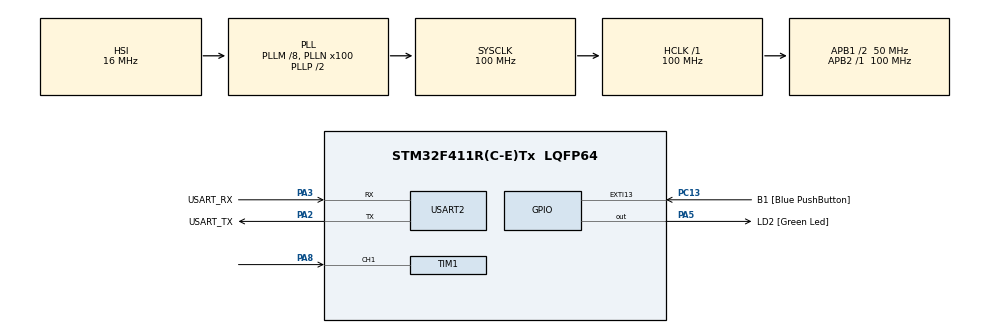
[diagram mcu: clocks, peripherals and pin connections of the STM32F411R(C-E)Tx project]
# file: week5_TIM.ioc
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Dma.Request0=TIM1_CH1
Dma.TIM1_CH1.0.Direction=DMA_PERIPH_TO_MEMORY
Dma.TIM1_CH1.0.FIFOMode=DMA_FIFOMODE_DISABLE
Dma.TIM1_CH1.0.Instance=DMA2_Stream1
Dma.TIM1_CH1.0.MemDataAlignment=DMA_MDATAALIGN_HALFWORD
Dma.TIM1_CH1.0.MemInc=DMA_MINC_ENABLE
Dma.TIM1_CH1.0.Mode=DMA_CIRCULAR
Dma.TIM1_CH1.0.PeriphDataAlignment=DMA_PDATAALIGN_HALFWORD
Dma.TIM1_CH1.0.PeriphInc=DMA_PINC_DISABLE
Dma.TIM1_CH1.0.Priority=DMA_PRIORITY_LOW
Mcu.Family=STM32F4
Mcu.Name=STM32F411R(C-E)Tx
Mcu.Package=LQFP64
NVIC.DMA2_Stream1_IRQn=true\:0\:0\:false\:false\:true\:false\:true
NVIC.PriorityGroup=NVIC_PRIORITYGROUP_0
NVIC.TIM1_TRG_COM_TIM11_IRQn=true\:0\:0\:false\:false\:true\:true\:true
PA13.GPIO_Label=TMS
PA13.Mode=Serial_Wire
PA13.Signal=SYS_JTMS-SWDIO
PA14.GPIO_Label=TCK
PA14.Mode=Serial_Wire
PA14.Signal=SYS_JTCK-SWCLK
PA2.GPIO_Label=USART_TX
PA2.Mode=Asynchronous
PA2.Signal=USART2_TX
PA3.GPIO_Label=USART_RX
PA3.Mode=Asynchronous
PA3.Signal=USART2_RX
PA5.GPIO_Label=LD2 [Green Led]
PA5.Signal=GPIO_Output
PA8.Signal=S_TIM1_CH1
PB3.GPIO_Label=SWO
PB3.Signal=SYS_JTDO-SWO
PC13-ANTI_TAMP.GPIO_Label=B1 [Blue PushButton]
PC13-ANTI_TAMP.GPIO_ModeDefaultEXTI=GPIO_MODE_IT_FALLING
PC13-ANTI_TAMP.Signal=GPXTI13
PC14-OSC32_IN.Mode=LSE-External-Oscillator
PC14-OSC32_IN.Signal=RCC_OSC32_IN
PC15-OSC32_OUT.Mode=LSE-External-Oscillator
PC15-OSC32_OUT.Signal=RCC_OSC32_OUT
PH0\ -\ OSC_IN.Mode=HSE-External-Clock-Source
PH0\ -\ OSC_IN.Signal=RCC_OSC_IN
PH1\ -\ OSC_OUT.Mode=HSE-External-Clock-Source
PH1\ -\ OSC_OUT.Signal=RCC_OSC_OUT
ProjectManager.HeapSize=0x200
ProjectManager.StackSize=0x400
ProjectManager.TargetToolchain=STM32CubeIDE
RCC.48MHZClocksFreq_Value=50000000
RCC.AHBFreq_Value=100000000
RCC.APB1CLKDivider=RCC_HCLK_DIV2
RCC.APB1Freq_Value=50000000
RCC.APB1TimFreq_Value=100000000
RCC.APB2Freq_Value=100000000
RCC.APB2TimFreq_Value=100000000
RCC.CortexFreq_Value=100000000
RCC.FLatency-AdvancedSettings=FLASH_LATENCY_3
RCC.HCLKFreq_Value=100000000
RCC.HSE_VALUE=8000000
RCC.HSI_VALUE=16000000
RCC.PLLM=8
RCC.PLLN=100
RCC.SYSCLKFreq_VALUE=100000000
RCC.SYSCLKSource=RCC_SYSCLKSOURCE_PLLCLK
RCC.VCOOutputFreq_Value=200000000
SH.S_TIM1_CH1.0=TIM1_CH1,Input_Capture1_from_TI1
TIM1.Channel-Input_Capture1_from_TI1=TIM_CHANNEL_1
TIM1.ICFilter_CH1=2
TIM1.Prescaler=99
TIM11.Prescaler=99
USART2.VirtualMode=VM_ASYNC
VP_TIM11_VS_ClockSourceINT.Mode=Enable_Timer
VP_TIM1_VS_ClockSourceINT.Mode=Internal
board=NUCLEO-F411RE

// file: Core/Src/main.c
/* USER CODE BEGIN Header */
/**
  ******************************************************************************
  * @file           : main.c
  * @brief          : Main program body
  ******************************************************************************
  * @attention
  *
  * <h2><center>&copy; Copyright (c) 2021 STMicroelectronics.
  * All rights reserved.</center></h2>
  *
  * This software component is licensed by ST under BSD 3-Clause license,
  * the "License"; You may not use this file except in compliance with the
  * License. You may obtain a copy of the License at:
  *                        opensource.org/licenses/BSD-3-Clause
  *
  ******************************************************************************
  */
/* USER CODE END Header */
#include "main.h"

/* USER CODE BEGIN PM */
#define CAPTURENUM 16
/* USER CODE END PM */

TIM_HandleTypeDef htim1;
TIM_HandleTypeDef htim11;
DMA_HandleTypeDef hdma_tim1_ch1;

UART_HandleTypeDef huart2;

/* USER CODE BEGIN PV */

uint16_t capturedata[CAPTURENUM]={0};
/* USER CODE END PV */

void SystemClock_Config(void);
static void MX_GPIO_Init(void);
static void MX_DMA_Init(void);
static void MX_USART2_UART_Init(void);
static void MX_TIM1_Init(void);
static void MX_TIM11_Init(void);

/* USER CODE BEGIN 0 */
uint64_t _micros=0;
uint64_t micros();
uint64_t timestamp=0;

int32_t DiffTime[CAPTURENUM-1] = { 0 };
float MeanTime =0;
void encoderSpeedReaderCycle();

/* USER CODE END 0 */

int main(void)
{

  /* MCU Configuration--------------------------------------------------------*/

  /* Reset of all peripherals, Initializes the Flash interface and the Systick. */
  HAL_Init();

  /* Configure the system clock */
  SystemClock_Config();

  /* Initialize all configured peripherals */
  MX_GPIO_Init();
  MX_DMA_Init();
  MX_USART2_UART_Init();
  MX_TIM1_Init();
  MX_TIM11_Init();
  /* USER CODE BEGIN 2 */
HAL_TIM_Base_Start_IT(&htim11);

HAL_TIM_Base_Start_IT(&htim1);
HAL_TIM_IC_Start_DMA(&htim1, TIM_CHANNEL_1, (uint32_t*)capturedata,CAPTURENUM);
  /* USER CODE END 2 */

  /* Infinite loop */
  /* USER CODE BEGIN WHILE */
  while (1)
  {
	  if(micros()-timestamp > 1000000){
	  	timestamp = micros();
	  	HAL_GPIO_TogglePin(LD2_GPIO_Port,LD2_Pin);
	  }
    /* USER CODE END WHILE */

  }
}

void SystemClock_Config(void)
{
  RCC_OscInitTypeDef RCC_OscInitStruct = {0};
  RCC_ClkInitTypeDef RCC_ClkInitStruct = {0};

  /** Configure the main internal regulator output voltage
  */
  __HAL_RCC_PWR_CLK_ENABLE();
  __HAL_PWR_VOLTAGESCALING_CONFIG(PWR_REGULATOR_VOLTAGE_SCALE1);
  /** Initializes the RCC Oscillators according to the specified parameters
  * in the RCC_OscInitTypeDef structure.
  */
  RCC_OscInitStruct.OscillatorType = RCC_OSCILLATORTYPE_HSI;
  RCC_OscInitStruct.HSIState = RCC_HSI_ON;
  RCC_OscInitStruct.HSICalibrationValue = RCC_HSICALIBRATION_DEFAULT;
  RCC_OscInitStruct.PLL.PLLState = RCC_PLL_ON;
  RCC_OscInitStruct.PLL.PLLSource = RCC_PLLSOURCE_HSI;
  RCC_OscInitStruct.PLL.PLLM = 8;
  RCC_OscInitStruct.PLL.PLLN = 100;
  RCC_OscInitStruct.PLL.PLLP = RCC_PLLP_DIV2;
  RCC_OscInitStruct.PLL.PLLQ = 4;
  if (HAL_RCC_OscConfig(&RCC_OscInitStruct) != HAL_OK)
  {
    Error_Handler();
  }
  /** Initializes the CPU, AHB and APB buses clocks
  */
  RCC_ClkInitStruct.ClockType = RCC_CLOCKTYPE_HCLK|RCC_CLOCKTYPE_SYSCLK
                              |RCC_CLOCKTYPE_PCLK1|RCC_CLOCKTYPE_PCLK2;
  RCC_ClkInitStruct.SYSCLKSource = RCC_SYSCLKSOURCE_PLLCLK;
  RCC_ClkInitStruct.AHBCLKDivider = RCC_SYSCLK_DIV1;
  RCC_ClkInitStruct.APB1CLKDivider = RCC_HCLK_DIV2;
  RCC_ClkInitStruct.APB2CLKDivider = RCC_HCLK_DIV1;

  if (HAL_RCC_ClockConfig(&RCC_ClkInitStruct, FLASH_LATENCY_3) != HAL_OK)
  {
    Error_Handler();
  }
}

static void MX_TIM1_Init(void)
{

  TIM_ClockConfigTypeDef sClockSourceConfig = {0};
  TIM_MasterConfigTypeDef sMasterConfig = {0};
  TIM_IC_InitTypeDef sConfigIC = {0};

  htim1.Instance = TIM1;
  htim1.Init.Prescaler = 99;
  htim1.Init.CounterMode = TIM_COUNTERMODE_UP;
  htim1.Init.Period = 65535;
  htim1.Init.ClockDivision = TIM_CLOCKDIVISION_DIV1;
  htim1.Init.RepetitionCounter = 0;
  htim1.Init.AutoReloadPreload = TIM_AUTORELOAD_PRELOAD_DISABLE;
  if (HAL_TIM_Base_Init(&htim1) != HAL_OK)
  {
    Error_Handler();
  }
  sClockSourceConfig.ClockSource = TIM_CLOCKSOURCE_INTERNAL;
  if (HAL_TIM_ConfigClockSource(&htim1, &sClockSourceConfig) != HAL_OK)
  {
    Error_Handler();
  }
  if (HAL_TIM_IC_Init(&htim1) != HAL_OK)
  {
    Error_Handler();
  }
  sMasterConfig.MasterOutputTrigger = TIM_TRGO_RESET;
  sMasterConfig.MasterSlaveMode = TIM_MASTERSLAVEMODE_DISABLE;
  if (HAL_TIMEx_MasterConfigSynchronization(&htim1, &sMasterConfig) != HAL_OK)
  {
    Error_Handler();
  }
  sConfigIC.ICPolarity = TIM_INPUTCHANNELPOLARITY_RISING;
  sConfigIC.ICSelection = TIM_ICSELECTION_DIRECTTI;
  sConfigIC.ICPrescaler = TIM_ICPSC_DIV1;
  sConfigIC.ICFilter = 2;
  if (HAL_TIM_IC_ConfigChannel(&htim1, &sConfigIC, TIM_CHANNEL_1) != HAL_OK)
  {
    Error_Handler();
  }

}

static void MX_TIM11_Init(void)
{

  htim11.Instance = TIM11;
  htim11.Init.Prescaler = 99;
  htim11.Init.CounterMode = TIM_COUNTERMODE_UP;
  htim11.Init.Period = 65535;
  htim11.Init.ClockDivision = TIM_CLOCKDIVISION_DIV1;
  htim11.Init.AutoReloadPreload = TIM_AUTORELOAD_PRELOAD_DISABLE;
  if (HAL_TIM_Base_Init(&htim11) != HAL_OK)
  {
    Error_Handler();
  }

}

static void MX_USART2_UART_Init(void)
{

  huart2.Instance = USART2;
  huart2.Init.BaudRate = 115200;
  huart2.Init.WordLength = UART_WORDLENGTH_8B;
  huart2.Init.StopBits = UART_STOPBITS_1;
  huart2.Init.Parity = UART_PARITY_NONE;
  huart2.Init.Mode = UART_MODE_TX_RX;
  huart2.Init.HwFlowCtl = UART_HWCONTROL_NONE;
  huart2.Init.OverSampling = UART_OVERSAMPLING_16;
  if (HAL_UART_Init(&huart2) != HAL_OK)
  {
    Error_Handler();
  }

}

static void MX_DMA_Init(void)
{

  /* DMA controller clock enable */
  __HAL_RCC_DMA2_CLK_ENABLE();

  /* DMA interrupt init */
  /* DMA2_Stream1_IRQn interrupt configuration */
  HAL_NVIC_SetPriority(DMA2_Stream1_IRQn, 0, 0);
  HAL_NVIC_EnableIRQ(DMA2_Stream1_IRQn);

}

static void MX_GPIO_Init(void)
{
  GPIO_InitTypeDef GPIO_InitStruct = {0};

  /* GPIO Ports Clock Enable */
  __HAL_RCC_GPIOC_CLK_ENABLE();
  __HAL_RCC_GPIOH_CLK_ENABLE();
  __HAL_RCC_GPIOA_CLK_ENABLE();
  __HAL_RCC_GPIOB_CLK_ENABLE();

  /*Configure GPIO pin Output Level */
  HAL_GPIO_WritePin(LD2_GPIO_Port, LD2_Pin, GPIO_PIN_RESET);

  /*Configure GPIO pin : B1_Pin */
  GPIO_InitStruct.Pin = B1_Pin;
  GPIO_InitStruct.Mode = GPIO_MODE_IT_FALLING;
  GPIO_InitStruct.Pull = GPIO_NOPULL;
  HAL_GPIO_Init(B1_GPIO_Port, &GPIO_InitStruct);

  /*Configure GPIO pin : LD2_Pin */
  GPIO_InitStruct.Pin = LD2_Pin;
  GPIO_InitStruct.Mode = GPIO_MODE_OUTPUT_PP;
  GPIO_InitStruct.Pull = GPIO_NOPULL;
  GPIO_InitStruct.Speed = GPIO_SPEED_FREQ_LOW;
  HAL_GPIO_Init(LD2_GPIO_Port, &GPIO_InitStruct);

}

/* USER CODE BEGIN 4 */
void HAL_TIM_PeriodElapsedCallback(TIM_HandleTypeDef *htim)
{
	if(htim == &htim11){
		_micros += 65535;
	 }
}
uint64_t micros()
{
	return _micros + htim11.Instance->CNT;
}

void encoderSpeedReaderCycle() {
	uint32_t CapPos =CAPTURENUM -  __HAL_DMA_GET_COUNTER(htim1.hdma[TIM_DMA_ID_CC1]);
	uint32_t sum = 0 ;

	for(register int i=0 ;i < CAPTURENUM-1;i++)
	{
		DiffTime[i]  = capturedata[(CapPos+1+i)%CAPTURENUM]-capturedata[(CapPos+i)%CAPTURENUM];

		if (DiffTime[i] <0)
		{
			DiffTime[i]+=65535;
		}

		sum += DiffTime[i];
	}

	MeanTime =sum / (float)(CAPTURENUM-1);
}
/* USER CODE END 4 */

void Error_Handler(void)
{
  __disable_irq();
  while (1)
  {
  }
}

/************************ (C) COPYRIGHT STMicroelectronics *****END OF FILE****/
